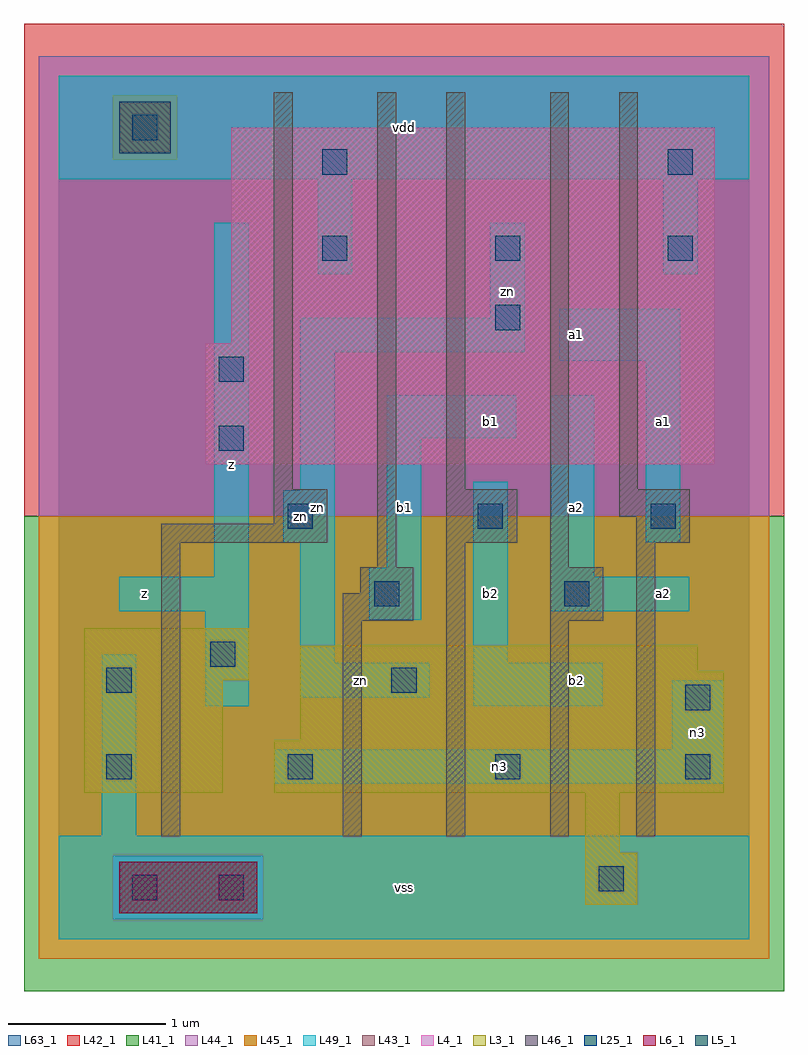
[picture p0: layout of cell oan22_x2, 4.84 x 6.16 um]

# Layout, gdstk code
import gdstk
lib = gdstk.Library(unit=1e-6, precision=1e-09)
def R(c, l, rs):  # rectangles x0, y0, x1, y1
    for r in rs: c.add(gdstk.rectangle(r[:2], r[2:], *l))
def A(c, l, x, y, w, h, nx, ny, dx, dy):  # array of equal rectangles
    R(c, l, [(x+i*dx, y+j*dy, x+i*dx+w, y+j*dy+h) for i in range(nx) for j in range(ny)])
L3_1 = (3, 1)
L4_1 = (4, 1)
L5_1 = (5, 1)
L6_1 = (6, 1)
L25_1 = (25, 1)
L41_1 = (41, 1)
L42_1 = (42, 1)
L43_1 = (43, 1)
L44_1 = (44, 1)
L45_1 = (45, 1)
L46_1 = (46, 1)
L49_1 = (49, 1)
L63_1 = (63, 1)

oan22_x2 = lib.new_cell('oan22_x2')
R(oan22_x2, L3_1, [(3.355,0.22,3.685,0.55), (3.355,0.55,3.575,0.935), (0.165,0.935,1.045,1.65), (1.375,0.935,4.235,1.265), (1.54,1.265,4.235,1.705), (0.165,1.65,1.21,1.98), (1.54,1.705,4.07,1.87)])
R(oan22_x2, L4_1, [(0.935,3.025,4.18,3.795), (1.1,3.795,4.18,5.17)])
R(oan22_x2, L5_1, [(0.385,5.005,0.715,5.335)])
R(oan22_x2, L6_1, [(0.385,0.165,1.265,0.495)])
A(oan22_x2, L25_1, 1.68, 4.32, 0.16, 0.16, 3, 1, 1.1, 0)
R(oan22_x2, L25_1, [(0.47,0.25,0.63,0.41), (1.02,0.25,1.18,0.41), (3.44,0.305,3.6,0.465), (0.305,1.02,0.465,1.18), (1.46,1.02,1.62,1.18), (2.78,1.02,2.94,1.18), (3.99,1.02,4.15,1.18), (3.99,1.46,4.15,1.62), (0.305,1.57,0.465,1.73), (2.12,1.57,2.28,1.73), (0.965,1.735,1.125,1.895), (2.01,2.12,2.17,2.28), (3.22,2.12,3.38,2.28), (1.46,2.615,1.62,2.775), (2.67,2.615,2.83,2.775), (3.77,2.615,3.93,2.775), (1.02,3.11,1.18,3.27), (1.02,3.55,1.18,3.71), (2.78,3.88,2.94,4.04), (1.68,4.87,1.84,5.03), (3.88,4.87,4.04,5.03), (0.47,5.09,0.63,5.25)])
R(oan22_x2, L41_1, [(-0.22,-0.33,4.62,2.695)])
R(oan22_x2, L42_1, [(-0.22,2.695,4.62,5.83)])
R(oan22_x2, L43_1, [(0.385,0.165,1.265,0.495), (3.355,0.22,3.685,0.55), (3.355,0.55,3.575,0.935), (0.165,0.935,1.045,1.65), (1.375,0.935,4.235,1.265), (1.54,1.265,4.235,1.705), (0.165,1.65,1.21,1.98), (1.54,1.705,4.07,1.87), (0.935,3.025,4.18,3.795), (1.1,3.795,4.18,5.17), (0.385,5.005,0.715,5.335)])
R(oan22_x2, L44_1, [(0.345,0.125,1.305,0.535), (-0.125,2.695,4.525,4.965), (-0.125,4.965,0.345,5.375), (0.755,4.965,4.525,5.375), (-0.125,5.375,4.525,5.625)])
R(oan22_x2, L45_1, [(-0.125,-0.125,4.525,0.125), (-0.125,0.125,0.345,0.535), (1.305,0.125,4.525,0.535), (-0.125,0.535,4.525,2.695), (0.345,4.965,0.755,5.375)])
A(oan22_x2, L46_1, 1.37, 2.865, 0.12, 2.53, 3, 1, 1.1, 0)
R(oan22_x2, L46_1, [(0.655,0.655,0.775,2.525), (1.81,0.655,1.93,2.03), (2.47,0.655,2.59,2.525), (3.13,0.655,3.25,2.03), (3.68,0.655,3.8,2.525), (1.81,2.03,2.26,2.205), (3.13,2.03,3.47,2.37), (1.92,2.205,2.26,2.37), (2.03,2.37,2.15,5.395), (3.13,2.37,3.25,5.395), (0.655,2.525,1.71,2.645), (2.47,2.525,2.92,2.865), (3.68,2.525,4.02,2.69), (1.37,2.645,1.71,2.865), (3.57,2.69,4.02,2.865)])
R(oan22_x2, L49_1, [(0,0,4.4,0.66), (0.275,0.66,0.495,1.815), (1.375,0.99,4.235,1.21), (3.905,1.21,4.235,1.65), (0.935,1.485,1.21,2.09), (2.64,1.485,3.465,1.76), (1.54,1.54,2.365,1.76), (1.54,1.76,1.76,2.53), (2.64,1.76,2.86,2.915), (1.98,2.035,2.31,2.365), (0.385,2.09,1.21,2.31), (3.135,2.09,4.015,2.31), (0.99,2.31,1.21,4.565), (3.135,2.31,3.41,3.465), (2.09,2.365,2.31,3.19), (1.43,2.53,1.76,2.86), (3.74,2.53,3.96,3.685), (1.54,2.86,1.76,3.74), (2.09,3.19,2.915,3.465), (3.19,3.685,3.96,4.015), (1.54,3.74,2.97,3.96), (2.75,3.96,2.97,4.565), (1.65,4.235,1.87,4.84), (3.85,4.235,4.07,4.84), (0,4.84,4.4,5.5)])
R(oan22_x2, L63_1, [(0,0,4.4,5.5)])
oan22_x2.add(gdstk.Label('zn', (1.54,2.695), layer=49, texttype=1))
oan22_x2.add(gdstk.Label('z', (0.55,2.2), layer=49, texttype=1))
oan22_x2.add(gdstk.Label('z', (0.55,2.2), layer=49, texttype=1))
oan22_x2.add(gdstk.Label('z', (1.1,3.025), layer=49, texttype=1))
oan22_x2.add(gdstk.Label('z', (1.1,3.025), layer=49, texttype=1))
oan22_x2.add(gdstk.Label('vss', (2.2,0.33), layer=49, texttype=1))
oan22_x2.add(gdstk.Label('vss', (2.2,0.33), layer=49, texttype=1))
oan22_x2.add(gdstk.Label('zn', (1.925,1.65), layer=49, texttype=1))
oan22_x2.add(gdstk.Label('b1', (2.2,2.75), layer=49, texttype=1))
oan22_x2.add(gdstk.Label('b1', (2.2,2.75), layer=49, texttype=1))
oan22_x2.add(gdstk.Label('zn', (1.65,2.75), layer=49, texttype=1))
oan22_x2.add(gdstk.Label('vdd', (2.2,5.17), layer=49, texttype=1))
oan22_x2.add(gdstk.Label('vdd', (2.2,5.17), layer=49, texttype=1))
oan22_x2.add(gdstk.Label('b2', (3.3,1.65), layer=49, texttype=1))
oan22_x2.add(gdstk.Label('b2', (3.3,1.65), layer=49, texttype=1))
oan22_x2.add(gdstk.Label('b2', (2.75,2.2), layer=49, texttype=1))
oan22_x2.add(gdstk.Label('b2', (2.75,2.2), layer=49, texttype=1))
oan22_x2.add(gdstk.Label('a2', (3.3,2.75), layer=49, texttype=1))
oan22_x2.add(gdstk.Label('a2', (3.3,2.75), layer=49, texttype=1))
oan22_x2.add(gdstk.Label('b1', (2.75,3.3), layer=49, texttype=1))
oan22_x2.add(gdstk.Label('b1', (2.75,3.3), layer=49, texttype=1))
oan22_x2.add(gdstk.Label('a1', (3.3,3.85), layer=49, texttype=1))
oan22_x2.add(gdstk.Label('a1', (3.3,3.85), layer=49, texttype=1))
oan22_x2.add(gdstk.Label('zn', (2.86,4.125), layer=49, texttype=1))
oan22_x2.add(gdstk.Label('n3', (4.07,1.32), layer=49, texttype=1))
oan22_x2.add(gdstk.Label('n3', (2.805,1.1), layer=49, texttype=1))
oan22_x2.add(gdstk.Label('a2', (3.85,2.2), layer=49, texttype=1))
oan22_x2.add(gdstk.Label('a2', (3.85,2.2), layer=49, texttype=1))
oan22_x2.add(gdstk.Label('a1', (3.85,3.3), layer=49, texttype=1))
oan22_x2.add(gdstk.Label('a1', (3.85,3.3), layer=49, texttype=1))

lib.write_gds('oan22_x2.gds')
